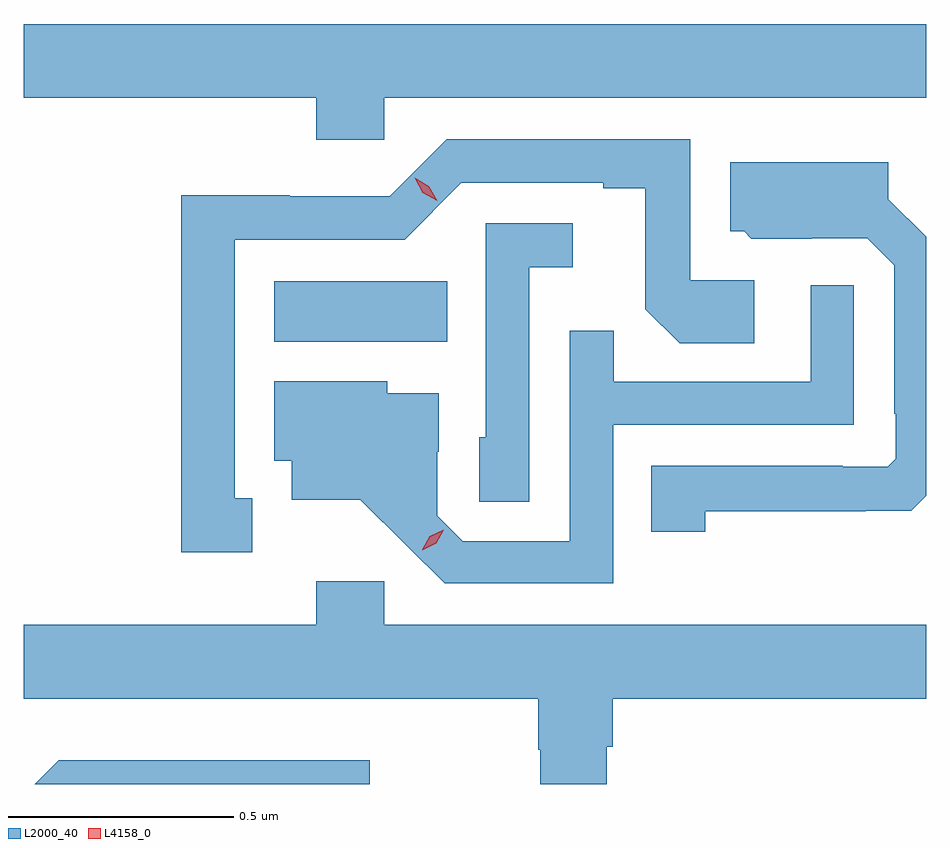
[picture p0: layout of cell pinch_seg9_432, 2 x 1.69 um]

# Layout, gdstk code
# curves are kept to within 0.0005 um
import gdstk
lib = gdstk.Library(unit=1e-6, precision=1e-09)
def R(c, l, rs):  # rectangles x0, y0, x1, y1
    for r in rs: c.add(gdstk.rectangle(r[:2], r[2:], *l))
def P(c, l, *ps):  # polygons
    for p in ps: c.add(gdstk.Polygon(p, *l))
L2000_40 = (2000, 40)
L4158_0 = (4158, 0)

pinch_seg9_432 = lib.new_cell('pinch_seg9_432')
R(pinch_seg9_432, L2000_40, [(233.054,1223.852,233.438,1223.986)])
P(pinch_seg9_432, L2000_40, [(233.298,1224.392),(234.499,1224.392),(234.499,1224.556),(232.499,1224.556),(232.499,1224.392),(233.147,1224.392),(233.147,1224.299),(233.298,1224.299)],
  [(233.005,1223.505),(232.966,1223.505),(232.966,1224.078),(233.343,1224.078),(233.469,1224.204),(233.783,1224.204),(233.783,1224.192),(233.877,1224.192),(233.877,1223.924),(233.953,1223.848),(234.118,1223.848),(234.118,1223.988),(233.976,1223.988),(233.976,1224.3),(233.436,1224.3),(233.31,1224.174),(233.088,1224.174),(233.088,1224.176),(232.848,1224.176),(232.848,1223.385),(233.005,1223.385)],
  [(234.009,1223.476),(234.365,1223.476),(234.365,1223.477),(234.466,1223.477),(234.499,1223.51),(234.499,1224.084),(234.415,1224.168),(234.415,1224.25),(234.065,1224.25),(234.065,1224.096),(234.096,1224.096),(234.112,1224.08),(234.246,1224.08),(234.246,1224.081),(234.369,1224.081),(234.429,1224.021),(234.429,1223.692),(234.432,1223.692),(234.432,1223.592),(234.414,1223.574),(234.314,1223.574),(234.314,1223.577),(233.89,1223.577),(233.89,1223.43),(234.009,1223.43)],
  [(233.619,1224.017),(233.716,1224.017),(233.716,1224.114),(233.523,1224.114),(233.523,1223.64),(233.508,1223.64),(233.508,1223.497),(233.619,1223.497)],
  [(233.805,1223.667),(234.339,1223.667),(234.339,1223.977),(234.243,1223.977),(234.243,1223.763),(233.807,1223.763),(233.807,1223.876),(233.709,1223.876),(233.709,1223.409),(233.472,1223.409),(233.415,1223.466),(233.415,1223.608),(233.419,1223.608),(233.419,1223.737),(233.304,1223.737),(233.304,1223.764),(233.054,1223.764),(233.054,1223.588),(233.093,1223.588),(233.093,1223.501),(233.245,1223.501),(233.432,1223.316),(233.805,1223.316)],
  [(233.791,1222.954),(233.804,1222.954),(233.804,1223.06),(234.499,1223.06),(234.499,1223.224),(233.298,1223.224),(233.298,1223.32),(233.147,1223.32),(233.147,1223.224),(232.499,1223.224),(232.499,1223.06),(233.639,1223.06),(233.639,1222.947),(233.644,1222.947),(233.644,1222.871),(233.791,1222.871)],
  [(233.266,1222.924),(232.576,1222.924),(232.523,1222.871),(233.266,1222.871)])
P(pinch_seg9_432, L4158_0, [(233.382,1223.389),(233.382,1223.39),(233.399,1223.42),(233.43,1223.435),(233.43,1223.435),(233.43,1223.435),(233.413,1223.405),(233.382,1223.389)],
  [(233.415,1224.164),(233.383,1224.182),(233.365,1224.215),(233.365,1224.215),(233.365,1224.215),(233.397,1224.196),(233.415,1224.164),(233.415,1224.164)])

lib.write_gds('pinch_seg9_432.gds')
